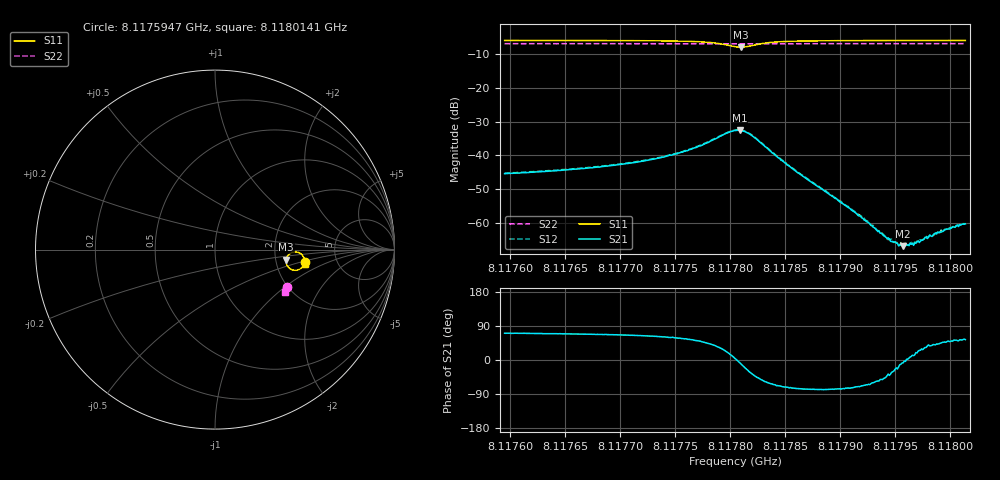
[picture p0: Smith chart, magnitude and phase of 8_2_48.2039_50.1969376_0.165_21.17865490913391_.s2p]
#  HZ  S  RI  R  50.00
! Rohde & Schwarz Vector Network Analyzer
! Rohde-Schwarz,ZNB20-2Port,1311601062101988,3.16
! Created: UTC 3/20/2024, 11:36:19 AM
! freq[Hz]  re:S11  im:S11  re:S21  im:S21  re:S12  im:S12  re:S22  im:S22
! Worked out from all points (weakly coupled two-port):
!   401 points, 8.1175947 GHz to 8.1180141 GHz, reference 50 ohm
!   highest |S21| = -32.59 dB at 8.1178086 GHz (marker M1); lowest = -67.0 dB at 8.1179575 GHz (marker M2)
!   lowest |S11| = -7.9 dB at 8.1178097 GHz (marker M3), VSWR 2.34, Z = 114 - j15.5 ohm
!   |S11| at or under -10 dB: nowhere
!   |S22| runs from -7.0 to -6.9 dB; largest |S21 - S12| = 0.00065
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8.11759474e9  0.5005 -0.0669  0.00176 0.00503  0.00187 0.00511  0.4017 -0.2083
8.11766498e9  0.4978 -0.0767  0.00234 0.00591  0.00246 0.00599  0.3995 -0.2129
8.11770062e9  0.4953 -0.0834  0.00295 0.0067  0.00309 0.0068  0.3982 -0.2152
8.11773522e9  0.49 -0.0929  0.0043 0.00802  0.00441 0.00816  0.3969 -0.2177
8.11776772e9  0.4748 -0.1075  0.00799 0.0102  0.00826 0.0104  0.3949 -0.2201
8.11779183e9  0.4344 -0.1137  0.0166 0.00984  0.0171 0.00997  0.3923 -0.2213
8.11780441e9  0.3995 -0.0828  0.0232 0.00164  0.0236 0.00161  0.3907 -0.2201
8.1178086e9  0.396 -0.0623  0.0233 -0.00281  0.0238 -0.00311  0.3907 -0.2194
8.11780965e9  0.3965 -0.0569  0.0229 -0.00393  0.0233 -0.00437  0.3907 -0.2192
8.11782013e9  0.425 -0.0179  0.0154 -0.0117  0.0157 -0.0121  0.3922 -0.2184
8.1178411e9  0.4779 -0.023  0.00413 -0.00904  0.00403 -0.00937  0.3938 -0.2205
8.11785368e9  0.4888 -0.0338  0.00192 -0.00664  0.002 -0.00674  0.394 -0.2219
8.11787465e9  0.4959 -0.0471  0.000858 -0.00383  0.00082 -0.00392  0.3934 -0.224
8.11791972e9  0.4991 -0.0624  0.000441 -0.00109  0.000456 -0.00115  0.392 -0.2273
8.11794174e9  0.4995 -0.0671  0.000426 -0.000432  0.000416 -0.000417  0.3912 -0.2288
8.11794488e9  0.4994 -0.0676  0.000435 -0.000375  0.000457 -0.000338  0.3913 -0.2289
8.11795432e9  0.4994 -0.0694  0.000448 -0.000102  0.000445 -0.000116  0.3908 -0.2296
8.11795746e9  0.4994 -0.0699  0.000444 -5.73e-05  0.000481 -7.84e-05  0.3906 -0.2298
8.11796795e9  0.4995 -0.0717  0.000484 0.000116  0.000497 0.000142  0.3905 -0.2305
8.11798996e9  0.4992 -0.0747  0.000518 0.000479  0.000571 0.00048  0.3896 -0.2319
8.11800464e9  0.499 -0.0769  0.000524 0.000671  0.000568 0.000722  0.3892 -0.233
8.11801407e9  0.4989 -0.0779  0.000568 0.000775  0.00056 0.000786  0.3887 -0.2335
